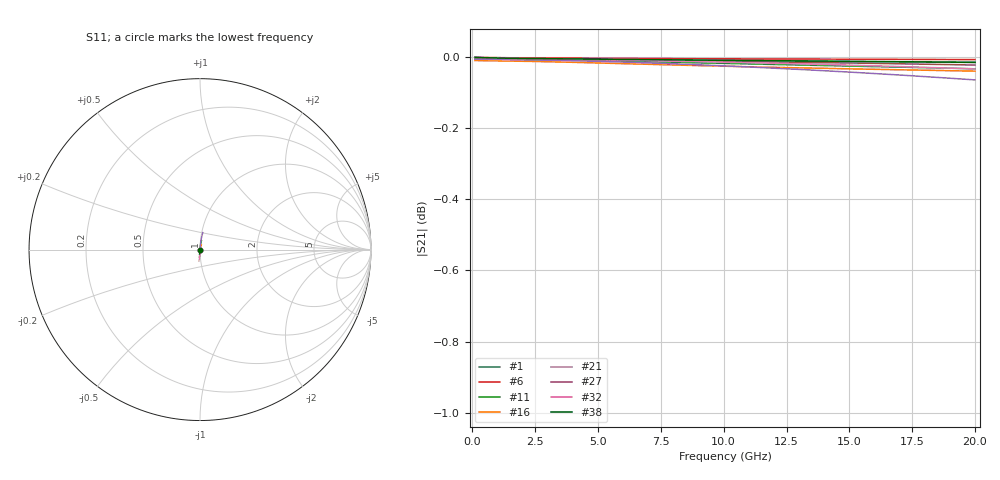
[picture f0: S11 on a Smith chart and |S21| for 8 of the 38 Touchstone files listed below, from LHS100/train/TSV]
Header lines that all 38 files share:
! Touchstone file exported from HFSS 2026.1.0
!  Design:  TSV
! Variables:
! Terminal data exported
# GHz S MA R 50.000000
Fixed: h_bsmrdl = 2um, h_ox = 20um, h_rdl = 5um, h_tmrdl = 5um, h_via = 3um, l_bsmrdl = 300um, l_tmrdl = 200um, m_sub = 200um, s_tmrdl = 10um, w_bsmrdl = 18um, w_sub = 500um, w_tmrdl = 12um, x_tsv_center1 = 206um, x_tsv_center2 = 524um, x_tsv_center3 = 736um, x_tsv_center4 = 1054um, x_tsv_center5 = 1266um, x_tsv_center6 = 1584um
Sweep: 100 MHz to 20 GHz
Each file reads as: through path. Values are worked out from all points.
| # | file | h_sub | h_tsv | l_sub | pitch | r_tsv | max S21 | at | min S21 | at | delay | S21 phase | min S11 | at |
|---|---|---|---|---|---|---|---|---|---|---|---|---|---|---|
| 1 | dut0.s2p | 98.32um | 98.32um | 418.54um | 42.1um | 9.27um | 0.00 dB | 100 MHz | 0.0 dB | 20 GHz | 1.33 ps | -5 deg at 10.1 GHz | -73.5 dB | 100 MHz |
| 2 | dut1.s2p | 73.51um | 73.51um | 427.7um | 59.23um | 13.85um | 0.00 dB | 100 MHz | 0.0 dB | 20 GHz | 1.08 ps | -4 deg at 10.1 GHz | -78.9 dB | 100 MHz |
| 3 | dut2.s2p | 57.99um | 57.99um | 415.02um | 25.55um | 7.51um | 0.00 dB | 100 MHz | 0.0 dB | 20 GHz | - | -3 deg at 10.1 GHz | -75.5 dB | 100 MHz |
| 4 | dut3.s2p | 52.03um | 52.03um | 416.42um | 48.51um | 8.21um | 0.00 dB | 100 MHz | 0.0 dB | 20 GHz | - | -3 deg at 10.1 GHz | -72.6 dB | 100 MHz |
| 5 | dut4.s2p | 57.04um | 57.04um | 419.22um | 57.96um | 9.61um | 0.00 dB | 100 MHz | 0.0 dB | 20 GHz | - | -3 deg at 10.1 GHz | -71.9 dB | 100 MHz |
| 6 | dut5.s2p | 53.06um | 53.06um | 425.36um | 47.09um | 12.68um | 0.00 dB | 100 MHz | 0.0 dB | 20 GHz | - | -3 deg at 10.1 GHz | -83.2 dB | 100 MHz |
| 7 | dut6.s2p | 76.67um | 76.67um | 418.04um | 27.24um | 9.02um | 0.00 dB | 100 MHz | 0.0 dB | 20 GHz | 1.06 ps | -4 deg at 10.1 GHz | -73.1 dB | 100 MHz |
| 8 | dut8.s2p | 87.28um | 87.28um | 408.8um | 13.91um | 4.4um | 0.00 dB | 100 MHz | 0.0 dB | 20 GHz | 1.13 ps | -4 deg at 10.1 GHz | -64.9 dB | 100 MHz |
| 9 | dut9.s2p | 56.5um | 56.5um | 419.9um | 43.43um | 9.95um | 0.00 dB | 100 MHz | 0.0 dB | 20 GHz | - | -3 deg at 10.1 GHz | -78.0 dB | 100 MHz |
| 10 | dut10.s2p | 66.55um | 66.55um | 412.06um | 56.27um | 6.03um | 0.00 dB | 100 MHz | 0.0 dB | 20 GHz | 1.2 ps | -4 deg at 10.1 GHz | -66.0 dB | 100 MHz |
| 11 | dut11.s2p | 62.04um | 62.04um | 406.9um | 28.12um | 3.45um | -0.01 dB | 100 MHz | 0.0 dB | 20 GHz | - | -4 deg at 10.1 GHz | -63.2 dB | 100 MHz |
| 12 | dut12.s2p | 55.09um | 55.09um | 421.28um | 51.61um | 10.64um | 0.00 dB | 100 MHz | 0.0 dB | 20 GHz | - | -3 deg at 10.1 GHz | -76.2 dB | 100 MHz |
| 13 | dut13.s2p | 77.74um | 77.74um | 414.22um | 21.17um | 7.11um | 0.00 dB | 100 MHz | 0.0 dB | 20 GHz | 1.06 ps | -4 deg at 10.1 GHz | -71.1 dB | 100 MHz |
| 14 | dut14.s2p | 98.88um | 98.88um | 423.76um | 44.13um | 11.88um | 0.00 dB | 100 MHz | 0.0 dB | 20 GHz | 1.33 ps | -5 deg at 10.1 GHz | -78.5 dB | 100 MHz |
| 15 | dut15.s2p | 90.08um | 90.08um | 429.44um | 49.39um | 14.72um | 0.00 dB | 100 MHz | 0.0 dB | 20 GHz | 1.25 ps | -5 deg at 10.1 GHz | -77.9 dB | 100 MHz |
| 16 | dut16.s2p | 99.46um | 99.46um | 406.4um | 16.9um | 3.2um | -0.01 dB | 100 MHz | 0.0 dB | 20 GHz | 1.27 ps | -5 deg at 10.1 GHz | -58.8 dB | 100 MHz |
| 17 | dut17.s2p | 85.69um | 85.69um | 408.36um | 41.12um | 4.18um | -0.01 dB | 100 MHz | -0.1 dB | 20 GHz | 1.39 ps | -5 deg at 10.1 GHz | -62.3 dB | 100 MHz |
| 18 | dut18.s2p | 58.39um | 58.39um | 418.1um | 25.88um | 9.05um | 0.00 dB | 100 MHz | 0.0 dB | 20 GHz | - | -3 deg at 10.1 GHz | -73.8 dB | 100 MHz |
| 19 | dut19.s2p | 63.1um | 63.1um | 409.94um | 43.53um | 4.97um | 0.00 dB | 100 MHz | 0.0 dB | 20 GHz | 1.07 ps | -4 deg at 10.1 GHz | -66.2 dB | 100 MHz |
| 20 | dut20.s2p | 61.33um | 61.33um | 406.34um | 32.4um | 3.17um | -0.01 dB | 100 MHz | 0.0 dB | 20 GHz | 1.03 ps | -4 deg at 10.1 GHz | -61.7 dB | 100 MHz |
| 21 | dut21.s2p | 50.69um | 50.69um | 405.84um | 49.59um | 2.92um | -0.01 dB | 100 MHz | -0.1 dB | 20 GHz | 1.15 ps | -4 deg at 10.1 GHz | -61.0 dB | 100 MHz |
| 22 | dut22.s2p | 62.65um | 62.65um | 413.24um | 28.29um | 6.62um | 0.00 dB | 100 MHz | 0.0 dB | 20 GHz | - | -3 deg at 10.1 GHz | -73.4 dB | 100 MHz |
| 23 | dut23.s2p | 79.97um | 79.97um | 408.46um | 18.43um | 4.23um | 0.00 dB | 100 MHz | 0.0 dB | 20 GHz | 1.03 ps | -4 deg at 10.1 GHz | -65.2 dB | 100 MHz |
| 24 | dut24.s2p | 60.27um | 60.27um | 426.44um | 58.52um | 13.22um | 0.00 dB | 100 MHz | 0.0 dB | 20 GHz | - | -3 deg at 10.1 GHz | -78.6 dB | 100 MHz |
| 25 | dut25.s2p | 78.16um | 78.16um | 407.44um | 24.93um | 3.72um | -0.01 dB | 100 MHz | 0.0 dB | 20 GHz | 1.1 ps | -4 deg at 10.1 GHz | -62.8 dB | 100 MHz |
| 26 | dut26.s2p | 52.69um | 52.69um | 412.6um | 29.17um | 6.3um | 0.00 dB | 100 MHz | 0.0 dB | 20 GHz | - | -3 deg at 10.1 GHz | -73.4 dB | 100 MHz |
| 27 | dut27.s2p | 70.24um | 70.24um | 415.92um | 23.28um | 7.96um | 0.00 dB | 100 MHz | 0.0 dB | 20 GHz | - | -4 deg at 10.1 GHz | -72.4 dB | 100 MHz |
| 28 | dut28.s2p | 96.19um | 96.19um | 427.14um | 55.41um | 13.57um | 0.00 dB | 100 MHz | 0.0 dB | 20 GHz | 1.33 ps | -5 deg at 10.1 GHz | -79.1 dB | 100 MHz |
| 29 | dut29.s2p | 95.68um | 95.68um | 424.54um | 54.02um | 12.27um | 0.00 dB | 100 MHz | 0.0 dB | 20 GHz | 1.33 ps | -5 deg at 10.1 GHz | -76.1 dB | 100 MHz |
| 30 | dut30.s2p | 84.98um | 84.98um | 408.96um | 49.56um | 4.48um | 0.00 dB | 100 MHz | -0.1 dB | 20 GHz | 1.48 ps | -5 deg at 10.1 GHz | -62.3 dB | 100 MHz |
| 31 | dut31.s2p | 95.06um | 95.06um | 413.84um | 33.49um | 6.92um | 0.00 dB | 100 MHz | 0.0 dB | 20 GHz | 1.27 ps | -5 deg at 10.1 GHz | -70.2 dB | 100 MHz |
| 32 | dut32.s2p | 58.75um | 58.75um | 416.92um | 21.07um | 8.46um | 0.00 dB | 100 MHz | 0.0 dB | 20 GHz | - | -3 deg at 10.1 GHz | -69.9 dB | 100 MHz |
| 33 | dut33.s2p | 84.45um | 84.45um | 404.24um | 34.78um | 2.12um | -0.02 dB | 100 MHz | -0.1 dB | 20 GHz | 1.53 ps | -6 deg at 10.1 GHz | -53.0 dB | 100 MHz |
| 34 | dut34.s2p | 68.68um | 68.68um | 415.4um | 16.97um | 7.7um | 0.00 dB | 100 MHz | -0.1 dB | 20 GHz | 1.4 ps | -5 deg at 10.1 GHz | -64.0 dB | 100 MHz |
| 35 | dut35.s2p | 54.33um | 54.33um | 417.24um | 45.54um | 8.62um | 0.00 dB | 100 MHz | 0.0 dB | 20 GHz | - | -3 deg at 10.1 GHz | -74.1 dB | 100 MHz |
| 36 | dut37.s2p | 51.61um | 51.61um | 425.64um | 33.23um | 12.82um | 0.00 dB | 100 MHz | 0.0 dB | 20 GHz | - | -3 deg at 10.1 GHz | -72.2 dB | 100 MHz |
| 37 | dut38.s2p | 86.14um | 86.14um | 416.12um | 53.37um | 8.06um | 0.00 dB | 100 MHz | 0.0 dB | 20 GHz | 1.32 ps | -5 deg at 10.1 GHz | -68.2 dB | 100 MHz |
| 38 | dut39.s2p | 96.99um | 96.99um | 424.68um | 42.62um | 12.34um | 0.00 dB | 100 MHz | 0.0 dB | 20 GHz | 1.31 ps | -5 deg at 10.1 GHz | -77.3 dB | 100 MHz |
